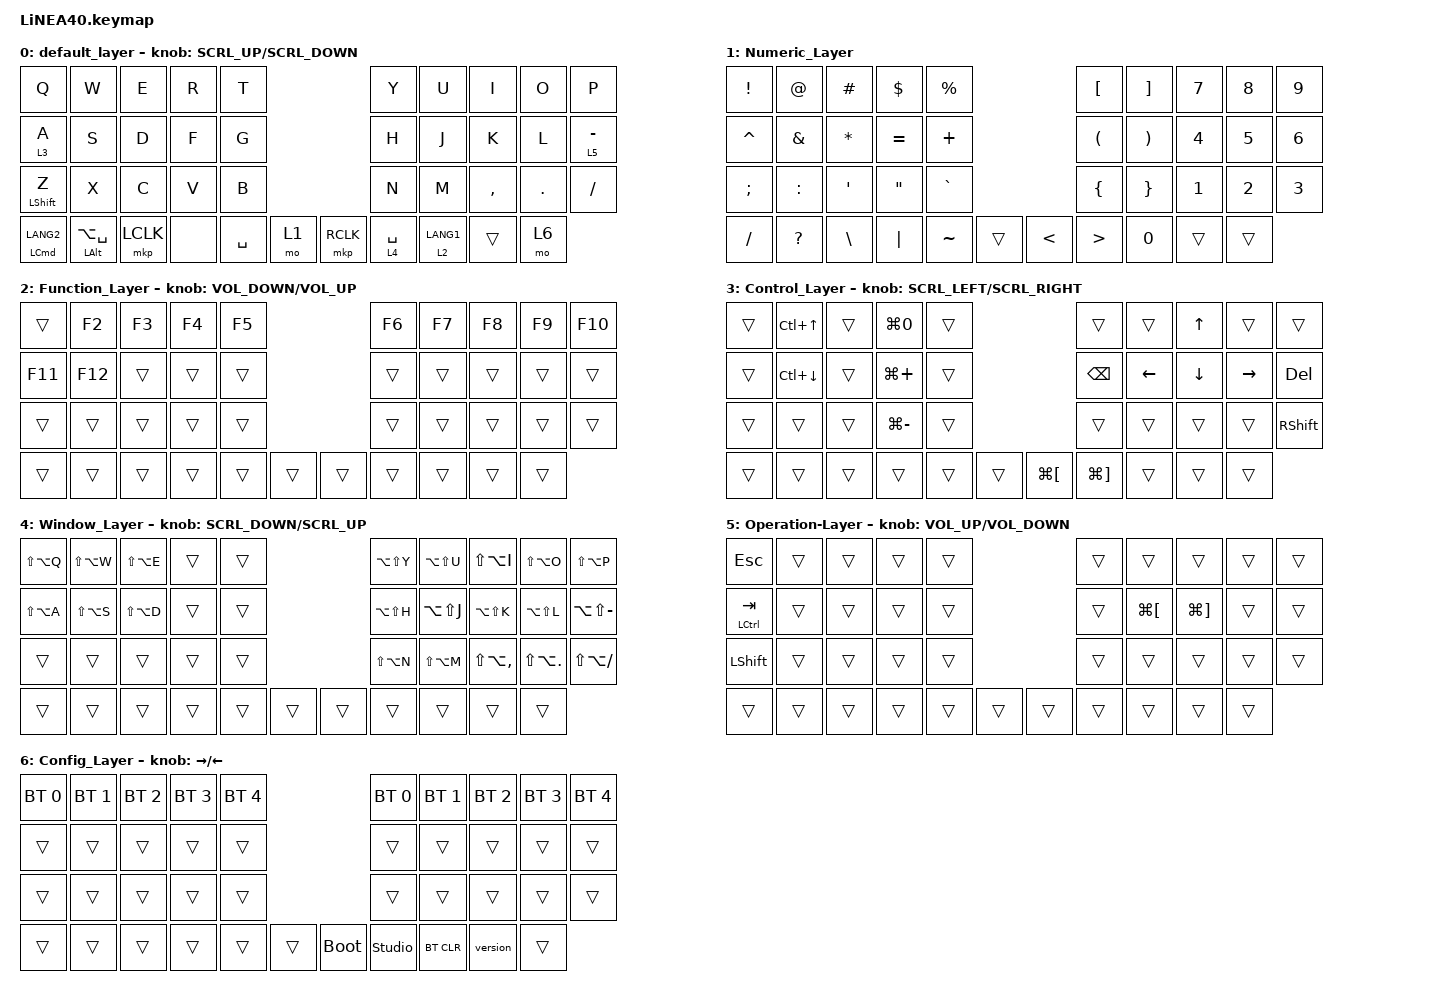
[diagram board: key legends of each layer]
#define ZMK_POINTING_DEFAULT_SCRL_VAL 100

#include <dt-bindings/zmk/input_transform.h>
#include <input/processors.dtsi>
#include <zephyr/dt-bindings/input/input-event-codes.h>
#include <behaviors.dtsi>
#include <dt-bindings/zmk/bt.h>
#include <dt-bindings/zmk/keys.h>
#include <dt-bindings/zmk/pointing.h>

#define MOUSE 1
#define MARK 2
#define CURSOR 3
#define FUNCTION 4
#define SCROLL 5
#define WIRELESS 6

&mt {
    flavor = "balanced";
};

//mouse cursol

&mmv {
    delay-ms = <20>;
    trigger-period-ms = <5>;
    time-to-max-speed-ms = <100>;
    acceleration-exponent = <2>;
};

//mouse scroll

&msc {
    delay-ms = <3>;
    trigger-period-ms = <3>;
    time-to-max-speed-ms = <100>;
    acceleration-exponent = <0>;
};

/ {
    input_processors {
        zip_wheel_scaler: zip_wheel_scaler {
            compatible = "zmk,input-processor-scaler";
            #input-processor-cells = <2>;
            type = <INPUT_EV_REL>;
            codes = <INPUT_REL_WHEEL>;
            track-remainders;
        };

        trackball_scroll_scaler: trackball_scroll_scaler {
            compatible = "zmk,input-processor-scaler";
            #input-processor-cells = <2>;
            type = <INPUT_EV_REL>;
            codes = <INPUT_REL_WHEEL INPUT_REL_HWHEEL>;
            track-remainders;
        };
    };
};

&msc_input_listener {
    speed_up {
        layers = <FUNCTION>;
        input-processors = <&zip_wheel_scaler 3 1>; //スクロールを3倍速にする
    };
};

&trackball_listener {
    scroller {
        layers = <SCROLL CURSOR>;
        input-processors =
            <&zip_xy_transform INPUT_TRANSFORM_Y_INVERT>, // スクロール方向を逆転
            <&zip_xy_to_scroll_mapper>,
            <&trackball_scroll_scaler 1 40>;
    };
};

/ {
    combos {
        compatible = "zmk,combos";

        Enter {
            bindings = <&kp ENTER>;
            key-positions = <18 19>;
        };

        Backspace {
            bindings = <&kp BACKSPACE>;
            key-positions = <9 8>;
        };

        screenshot {
            bindings = <&kp LA(LG(N5))>;
            key-positions = <40 39>;
        };

        Enter-KL {
            bindings = <&kp RETURN>;
            key-positions = <17 18>;
        };

        Backspace-IO {
            bindings = <&kp BACKSPACE>;
            key-positions = <7 8>;
        };

        Left-Shift-ZX {
            bindings = <&kp LEFT_SHIFT>;
            key-positions = <20 21>;
        };

        Right-Shift-,. {
            bindings = <&kp RIGHT_SHIFT>;
            key-positions = <27 28>;
        };
    };

    behaviors {
        re_kp: sensor_rotate_kp {
            compatible = "zmk,behavior-sensor-rotate-var";
            #sensor-binding-cells = <2>;
            bindings = <&kp>, <&kp>;
        };

        mouse_scrl: mouse_wheel_scrl {
            compatible = "zmk,behavior-sensor-rotate-var";
            #sensor-binding-cells = <2>;
            bindings = <&msc>, <&msc>;

            tap-ms = <20>;
        };
    };

    macros {
        version: version {
            compatible = "zmk,behavior-macro";
            #binding-cells = <0>;
            bindings = <&kp V &kp N0 &kp DOT &kp N3>;
            label = "VERSION";
        };
    };

    keymap {
        compatible = "zmk,keymap";

        default_layer {
            bindings = <
&kp Q                   &kp W                   &kp E      &kp R  &kp T                          &kp Y        &kp U  &kp I        &kp O    &kp P
&lt 3 A                 &kp S                   &kp D      &kp F  &kp G                          &kp H        &kp J  &kp K        &kp L    &lt 5 MINUS
&mt LEFT_SHIFT Z        &kp X                   &kp C      &kp V  &kp B                          &kp N        &kp M  &kp COMMA    &kp DOT  &kp SLASH
&mt LEFT_COMMAND LANG2  &mt LEFT_ALT LA(SPACE)  &mkp LCLK  &none  &kp SPACE  &mo 1    &mkp RCLK  &lt 4 SPACE         &lt 2 LANG1  &trans   &mo 6
            >;

            sensor-bindings = <&mouse_scrl SCRL_UP SCRL_DOWN>;
        };

        //1

        Numeric_Layer {
            bindings = <
&kp EXCLAMATION  &kp AT_SIGN    &kp HASH       &kp DOLLAR         &kp PERCENT                           &kp LEFT_BRACKET      &kp RIGHT_BRACKET      &kp NUMBER_7  &kp NUMBER_8  &kp NUMBER_9
&kp CARET        &kp AMPERSAND  &kp ASTERISK   &kp EQUAL          &kp PLUS                              &kp LEFT_PARENTHESIS  &kp RIGHT_PARENTHESIS  &kp NUMBER_4  &kp NUMBER_5  &kp NUMBER_6
&kp SEMICOLON    &kp COLON      &kp SQT        &kp DOUBLE_QUOTES  &kp GRAVE                             &kp LEFT_BRACE        &kp RIGHT_BRACE        &kp NUMBER_1  &kp NUMBER_2  &kp NUMBER_3
&kp SLASH        &kp QUESTION   &kp BACKSLASH  &kp PIPE           &kp TILDE    &trans    &kp LESS_THAN  &kp GREATER_THAN                             &kp NUMBER_0  &trans        &trans
            >;
        };

        //2

        Function_Layer {
            bindings = <
&trans   &kp F2   &kp F3  &kp F4  &kp F5                    &kp F6  &kp F7  &kp F8  &kp F9  &kp F10
&kp F11  &kp F12  &trans  &trans  &trans                    &trans  &trans  &trans  &trans  &trans
&trans   &trans   &trans  &trans  &trans                    &trans  &trans  &trans  &trans  &trans
&trans   &trans   &trans  &trans  &trans  &trans    &trans  &trans          &trans  &trans  &trans
            >;

            sensor-bindings = <&re_kp C_VOLUME_DOWN C_VOLUME_UP>;
        };

        //3

        Control_Layer {
            bindings = <
&trans  &kp LC(UP_ARROW)  &trans  &kp LG(NUMBER_0)  &trans                                  &trans                 &trans    &kp UP    &trans     &trans
&trans  &kp LC(DOWN)      &trans  &kp LG(PLUS)      &trans                                  &kp BACKSPACE          &kp LEFT  &kp DOWN  &kp RIGHT  &kp DELETE
&trans  &trans            &trans  &kp LG(MINUS)     &trans                                  &trans                 &trans    &trans    &trans     &kp RIGHT_SHIFT
&trans  &trans            &trans  &trans            &trans  &trans    &kp LG(LEFT_BRACKET)  &kp LG(RIGHT_BRACKET)            &trans    &trans     &trans
            >;

            sensor-bindings = <&mouse_scrl SCRL_LEFT SCRL_RIGHT>;
        };

        //4

        Window_Layer {
            bindings = <
&kp LS(LA(Q))  &kp LS(LA(W))  &kp LS(LA(E))  &trans  &trans                    &kp LA(LS(Y))  &kp LA(LS(U))  &kp LS(LA(I))      &kp LS(LA(O))       &kp LS(LA(P))
&kp LS(LA(A))  &kp LS(LA(S))  &kp LS(LA(D))  &trans  &trans                    &kp LA(LS(H))  &kp LA(LS(J))  &kp LA(LS(K))      &kp LA(LS(L))       &kp LA(LS(MINUS))
&trans         &trans         &trans         &trans  &trans                    &kp LS(LA(N))  &kp LS(LA(M))  &kp LS(LA(COMMA))  &kp LS(LA(PERIOD))  &kp LS(LA(SLASH))
&trans         &trans         &trans         &trans  &trans  &trans    &trans  &trans                        &trans             &trans              &trans
            >;

            sensor-bindings = <&mouse_scrl SCRL_DOWN SCRL_UP>;
        };

        //5

        Operation-Layer {
            bindings = <
&kp ESCAPE            &trans  &trans  &trans  &trans                    &trans  &trans                &trans                 &trans  &trans
&mt LEFT_CONTROL TAB  &trans  &trans  &trans  &trans                    &trans  &kp LG(LEFT_BRACKET)  &kp LG(RIGHT_BRACKET)  &trans  &trans
&kp LEFT_SHIFT        &trans  &trans  &trans  &trans                    &trans  &trans                &trans                 &trans  &trans
&trans                &trans  &trans  &trans  &trans  &trans    &trans  &trans                        &trans                 &trans  &trans
            >;

            sensor-bindings = <&inc_dec_kp C_VOLUME_UP C_VOLUME_DOWN>;
        };

        //6

        Config_Layer {
            bindings = <
&bt BT_SEL 0  &bt BT_SEL 1  &bt BT_SEL 2  &bt BT_SEL 3  &bt BT_SEL 4                         &bt BT_SEL 0    &bt BT_SEL 1  &bt BT_SEL 2  &bt BT_SEL 3  &bt BT_SEL 4
&trans        &trans        &trans        &trans        &trans                               &trans          &trans        &trans        &trans        &trans
&trans        &trans        &trans        &trans        &trans                               &trans          &trans        &trans        &trans        &trans
&trans        &trans        &trans        &trans        &trans        &trans    &bootloader  &studio_unlock                &bt BT_CLR    &version      &trans
            >;

            sensor-bindings = <&inc_dec_kp RIGHT_ARROW LEFT_ARROW>;
        };
    };
};
